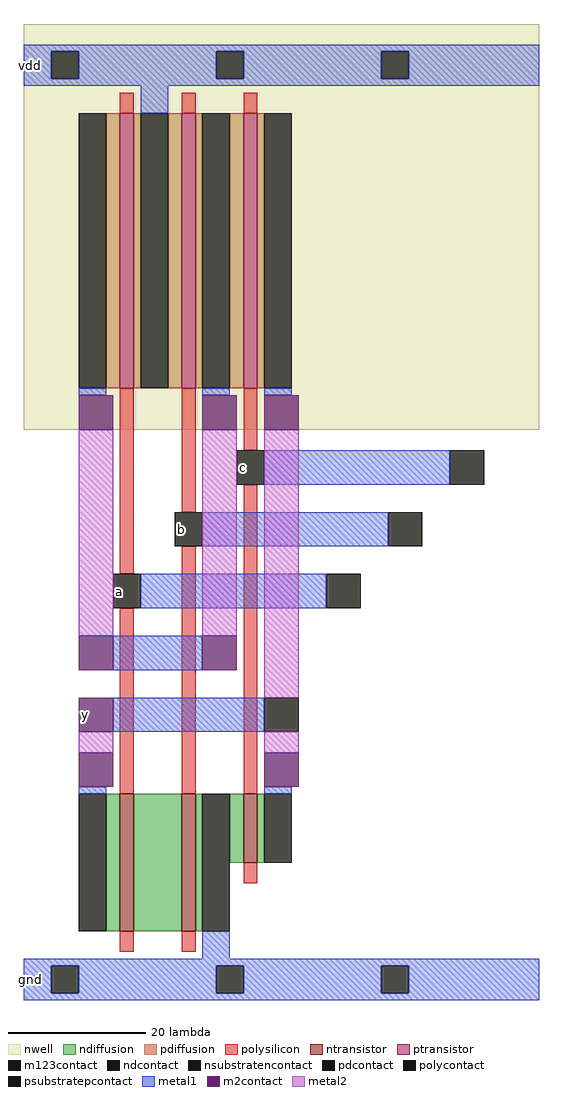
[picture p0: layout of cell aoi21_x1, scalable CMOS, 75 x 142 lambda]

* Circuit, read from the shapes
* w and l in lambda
.subckt aoi21_x1 a b c y vdd gnd
M1 n1 a y gnd nfet w=20 l=2
M2 gnd b n1 gnd nfet w=20 l=2
M3 y c gnd gnd nfet w=10 l=2
M4 vdd a n2 vdd pfet w=40 l=2
M5 n2 b vdd vdd pfet w=40 l=2
M6 y c n2 vdd pfet w=40 l=2
.ends

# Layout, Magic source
magic
tech scmos
<< nwell >>
rect 0 83 75 142
<< ntransistor >>
rect 14 10 16 30
rect 23 10 25 30
rect 32 20 34 30
<< ptransistor >>
rect 14 89 16 129
rect 23 89 25 129
rect 32 89 34 129
<< ndiffusion >>
rect 12 10 14 30
rect 16 10 23 30
rect 25 10 26 30
rect 30 20 32 30
rect 34 20 35 30
<< pdiffusion >>
rect 12 89 14 129
rect 16 89 17 129
rect 21 89 23 129
rect 25 89 26 129
rect 30 89 32 129
rect 34 89 35 129
<< ndcontact >>
rect 8 10 12 30
rect 26 10 30 30
rect 35 20 39 30
<< pdcontact >>
rect 8 89 12 129
rect 17 89 21 129
rect 26 89 30 129
rect 35 89 39 129
<< psubstratepcontact >>
rect 4 1 8 5
rect 28 1 32 5
rect 52 1 56 5
<< nsubstratencontact >>
rect 4 134 8 138
rect 28 134 32 138
rect 52 134 56 138
<< polysilicon >>
rect 14 129 16 132
rect 23 129 25 132
rect 32 129 34 132
rect 14 62 16 89
rect 23 71 25 89
rect 32 80 34 89
rect 14 30 16 57
rect 23 30 25 66
rect 32 30 34 75
rect 32 17 34 20
rect 14 7 16 10
rect 23 7 25 10
<< polycontact >>
rect 31 75 35 80
rect 22 66 26 71
rect 13 57 17 62
<< metal1 >>
rect 0 138 75 139
rect 0 134 4 138
rect 8 134 28 138
rect 32 134 52 138
rect 56 134 75 138
rect 0 133 75 134
rect 17 129 21 133
rect 8 88 12 89
rect 26 88 30 89
rect 35 88 39 89
rect 35 75 62 80
rect 26 66 53 71
rect 17 57 44 62
rect 13 48 26 53
rect 13 39 35 44
rect 8 30 12 31
rect 35 30 39 31
rect 26 6 30 10
rect 0 5 75 6
rect 0 1 4 5
rect 8 1 28 5
rect 32 1 52 5
rect 56 1 75 5
rect 0 0 75 1
<< m2contact >>
rect 8 83 13 88
rect 26 83 31 88
rect 35 83 40 88
rect 8 48 13 53
rect 26 48 31 53
rect 8 39 13 44
rect 8 31 13 36
rect 35 31 40 36
<< metal2 >>
rect 8 53 13 83
rect 26 53 31 83
rect 35 44 40 83
rect 8 36 13 39
rect 35 36 40 39
<< m123contact >>
rect 62 75 67 80
rect 53 66 58 71
rect 44 57 49 62
rect 35 39 40 44
<< labels >>
rlabel metal1 13 57 15 62 0 a
port 1 nsew
rlabel metal1 22 66 24 71 0 b
port 2 nsew
rlabel metal1 31 75 33 80 0 c
port 3 nsew
rlabel m2contact 8 39 10 44 0 y
port 4 nsew
rlabel metal1 0 133 2 139 0 vdd
port 5 nsew
rlabel metal1 0 0 2 6 0 gnd
port 6 nsew
<< end >>
